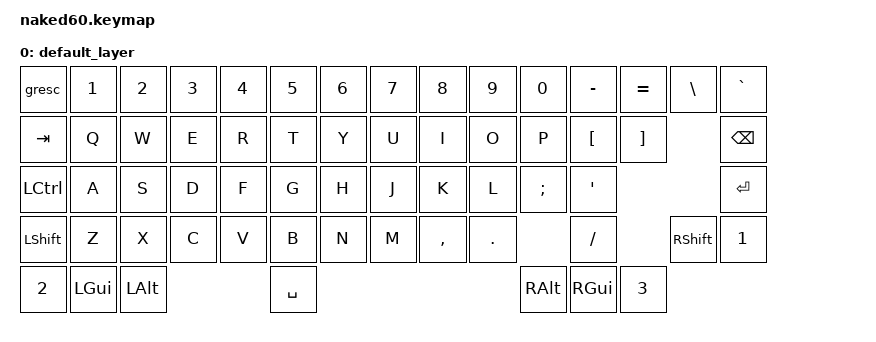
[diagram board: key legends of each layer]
/*
 * Copyright (c) 2020 The ZMK Contributors
 *
 * SPDX-License-Identifier: MIT
 */

#include <behaviors.dtsi>
#include <dt-bindings/zmk/keys.h>
#include <dt-bindings/zmk/bt.h>
#include <dt-bindings/zmk/outputs.h>


/ {
    keymap {
        compatible = "zmk,keymap";

        default_layer {
// ------------------------------------------------------------------------------------------
// | ESC |  1  |  2  |  3  |  4  |  5  |  6  |  7  |  8  |  9  |  0  |  -  |  =  |   BSPC   |
// | TAB  |  Q  |  W  |  E  |  R  |  T  |  Y  |  U  |  I  |  O  |  P  |  [  |  ]  |   "|"   |
// | CAPS  |  A  |  S  |  D  |  F  |  G  |  H  |  J  |  K  |  L  |  ;  |  '  |     ENTER    |
// |  SHIFT  |  Z  |  X  |  C  |  V  |  B  |  N  |  M  |  ,  |  .  |  /  |      SHIFT       |
// |  CTL  |  WIN  |  ALT  |            SPACE              |  ALT  |  WIN  |  MO(1) |  CTL  |
                        // ------------------------------------------------------------------------------------------
            bindings = <
    &gresc    &kp N1 &kp N2 &kp N3 &kp N4 &kp N5 &kp N6 &kp N7 &kp N8 &kp N9 &kp N0 &kp MINUS &kp EQUAL &kp BSLH  &kp GRAVE
    &kp TAB   &kp Q  &kp W  &kp E  &kp R  &kp T  &kp Y  &kp U  &kp I  &kp O  &kp P  &kp LBKT  &kp RBKT            &kp BSPC
    &kp LCTRL &kp A  &kp S  &kp D  &kp F  &kp G  &kp H  &kp J  &kp K  &kp L  &kp SEMI &kp SQT                     &kp RET
    &kp LSHFT &kp Z  &kp X  &kp C  &kp V  &kp B  &kp N  &kp M  &kp COMMA &kp DOT &kp FSLH               &kp RSHFT &kp N1
    &kp N2     &kp LGUI &kp LALT             &kp SPACE                     &kp RALT  &kp RGUI  &kp N3
                        >;
        };
    };
};
